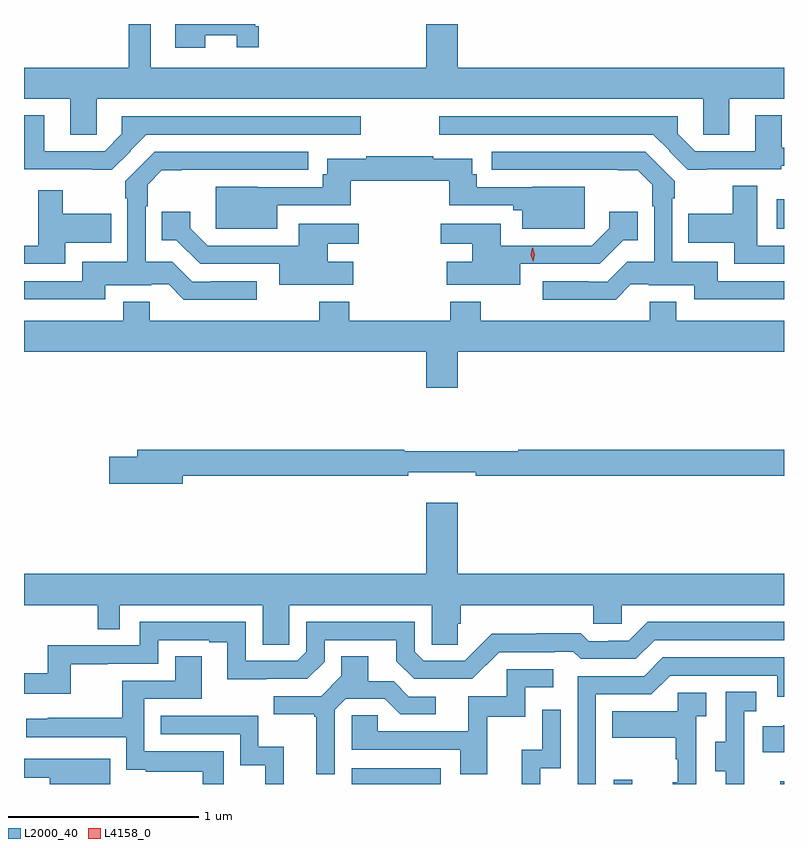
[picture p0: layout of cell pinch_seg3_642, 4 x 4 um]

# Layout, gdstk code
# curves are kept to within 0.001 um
import gdstk
lib = gdstk.Library(unit=1e-6, precision=1e-09)
def R(c, l, rs):  # rectangles x0, y0, x1, y1
    for r in rs: c.add(gdstk.rectangle(r[:2], r[2:], *l))
def P(c, l, *ps):  # polygons
    for p in ps: c.add(gdstk.Polygon(p, *l))
L2000_40 = (2000, 40)
L4158_0 = (4158, 0)

pinch_seg3_642 = lib.new_cell('pinch_seg3_642')
R(pinch_seg3_642, L2000_40, [(1027.752,675.998,1028.22,676.08), (1029.129,675.998,1029.227,676.021), (1030.007,675.998,1030.026,676.012), (1029.987,678.92,1030.026,679.075)])
P(pinch_seg3_642, L2000_40, [(1026.408,679.604),(1029.6,679.604),(1029.6,679.414),(1029.739,679.414),(1029.739,679.604),(1030.026,679.604),(1030.026,679.768),(1028.308,679.768),(1028.308,679.998),(1028.144,679.998),(1028.144,679.768),(1026.693,679.768),(1026.693,679.998),(1026.577,679.998),(1026.577,679.768),(1026.026,679.768),(1026.026,679.604),(1026.269,679.604),(1026.269,679.414),(1026.408,679.414)],
  [(1026.979,679.94),(1027.145,679.94),(1027.145,679.875),(1027.262,679.875),(1027.262,679.987),(1027.242,679.987),(1027.242,679.998),(1026.821,679.998),(1026.821,679.872),(1026.979,679.872)],
  [(1029.619,679.233),(1030.011,679.233),(1030.011,679.251),(1030.026,679.251),(1030.026,679.347),(1030.015,679.347),(1030.015,679.519),(1029.875,679.519),(1029.875,679.329),(1029.558,679.329),(1029.468,679.42),(1029.468,679.512),(1028.211,679.512),(1028.211,679.416),(1029.339,679.416),(1029.424,679.331),(1029.421,679.328),(1029.519,679.231),(1029.619,679.231)],
  [(1026.587,679.328),(1026.584,679.331),(1026.669,679.416),(1027.798,679.416),(1027.798,679.512),(1026.541,679.512),(1026.541,679.42),(1026.45,679.329),(1026.133,679.329),(1026.133,679.519),(1026.026,679.519),(1026.026,679.233),(1026.389,679.233),(1026.389,679.231),(1026.489,679.231)],
  [(1029.219,678.627),(1029.313,678.627),(1029.313,678.623),(1029.554,678.623),(1029.554,678.549),(1030.026,678.549),(1030.026,678.645),(1029.676,678.645),(1029.676,678.748),(1029.438,678.748),(1029.438,679.082),(1029.451,679.082),(1029.451,679.171),(1029.295,679.326),(1028.487,679.326),(1028.487,679.231),(1029.152,679.23),(1029.152,679.228),(1029.256,679.228),(1029.332,679.152),(1029.332,679.04),(1029.342,679.04),(1029.342,678.747),(1029.201,678.747),(1029.096,678.642),(1028.996,678.642),(1028.996,678.645),(1028.757,678.645),(1028.757,678.548),(1029.14,678.548)],
  [(1027.252,678.645),(1027.012,678.645),(1027.012,678.642),(1026.912,678.642),(1026.807,678.747),(1026.666,678.747),(1026.666,679.04),(1026.676,679.04),(1026.676,679.152),(1026.752,679.228),(1026.856,679.228),(1026.856,679.23),(1027.522,679.231),(1027.522,679.326),(1026.713,679.326),(1026.558,679.171),(1026.558,679.082),(1026.57,679.082),(1026.57,678.748),(1026.332,678.748),(1026.332,678.645),(1026.026,678.645),(1026.026,678.549),(1026.454,678.549),(1026.454,678.623),(1026.695,678.623),(1026.695,678.627),(1026.789,678.627),(1026.868,678.548),(1027.252,678.548)],
  [(1027.36,679.044),(1027.745,679.044),(1027.745,679.174),(1028.264,679.174),(1028.264,679.044),(1028.601,679.044),(1028.601,679.019),(1028.648,679.019),(1028.648,678.92),(1028.977,678.92),(1028.977,679.141),(1028.701,679.141),(1028.701,679.14),(1028.409,679.14),(1028.409,679.206),(1028.386,679.206),(1028.386,679.29),(1028.18,679.29),(1028.18,679.303),(1027.828,679.303),(1027.828,679.29),(1027.622,679.29),(1027.622,679.206),(1027.599,679.206),(1027.599,679.14),(1027.256,679.14),(1027.256,679.141),(1027.034,679.141),(1027.034,678.92),(1027.36,678.92)],
  [(1030.026,678.831),(1029.886,678.831),(1029.886,679.148),(1029.757,679.148),(1029.757,679),(1029.523,679),(1029.523,678.848),(1029.764,678.848),(1029.764,678.735),(1030.026,678.735)],
  [(1026.244,678.848),(1026.485,678.848),(1026.485,679),(1026.231,679),(1026.231,679.123),(1026.101,679.123),(1026.101,678.831),(1026.026,678.831),(1026.026,678.735),(1026.244,678.735)],
  [(1027.759,678.748),(1027.625,678.748),(1027.625,678.842),(1027.789,678.842),(1027.789,678.946),(1027.472,678.946),(1027.472,678.831),(1026.993,678.831),(1026.901,678.923),(1026.901,679.009),(1026.751,679.009),(1026.751,678.86),(1026.828,678.86),(1026.953,678.735),(1027.37,678.735),(1027.37,678.626),(1027.759,678.626)],
  [(1028.638,678.735),(1029.055,678.735),(1029.18,678.86),(1029.257,678.86),(1029.257,679.009),(1029.107,679.009),(1029.107,678.923),(1029.015,678.831),(1028.536,678.831),(1028.536,678.946),(1028.22,678.946),(1028.22,678.842),(1028.384,678.842),(1028.384,678.748),(1028.25,678.748),(1028.25,678.626),(1028.638,678.626)],
  [(1028.308,678.272),(1030.026,678.272),(1030.026,678.436),(1029.46,678.436),(1029.46,678.535),(1029.32,678.535),(1029.32,678.436),(1028.43,678.436),(1028.43,678.535),(1028.27,678.535),(1028.27,678.436),(1027.739,678.436),(1027.739,678.535),(1027.579,678.535),(1027.579,678.436),(1026.688,678.436),(1026.688,678.535),(1026.548,678.535),(1026.548,678.436),(1026.026,678.436),(1026.026,678.272),(1028.144,678.272),(1028.144,678.084),(1028.308,678.084)],
  [(1026.862,677.62),(1028.048,677.62),(1028.048,677.639),(1028.404,677.639),(1028.404,677.62),(1030.026,677.62),(1030.026,677.756),(1028.627,677.756),(1028.627,677.749),(1028.027,677.749),(1028.027,677.756),(1026.623,677.756),(1026.623,677.72),(1026.474,677.72),(1026.474,677.578),(1026.862,677.578)],
  [(1027.422,676.94),(1028.172,676.94),(1028.172,676.732),(1028.309,676.732),(1028.309,676.842),(1028.324,676.842),(1028.324,676.94),(1029.021,676.94),(1029.021,676.842),(1029.171,676.842),(1029.171,676.94),(1030.026,676.94),(1030.026,677.104),(1028.308,677.104),(1028.308,677.479),(1028.144,677.479),(1028.144,677.104),(1026.026,677.104),(1026.026,676.94),(1026.415,676.94),(1026.415,676.813),(1026.531,676.813),(1026.531,676.94),(1027.283,676.94),(1027.283,676.732),(1027.422,676.732)],
  [(1026.271,676.627),(1026.467,676.627),(1026.467,676.632),(1026.732,676.632),(1026.732,676.755),(1027.001,676.755),(1027.001,676.743),(1027.097,676.743),(1027.097,676.55),(1027.518,676.551),(1027.608,676.641),(1027.608,676.755),(1027.985,676.755),(1027.985,676.645),(1028.079,676.551),(1028.385,676.551),(1028.526,676.692),(1028.819,676.692),(1028.819,676.695),(1028.918,676.695),(1028.957,676.656),(1029.246,676.656),(1029.345,676.755),(1030.026,676.755),(1030.026,676.851),(1029.308,676.851),(1029.209,676.752),(1029.102,676.752),(1029.102,676.749),(1028.999,676.749),(1028.957,676.792),(1028.724,676.792),(1028.724,676.789),(1028.488,676.789),(1028.346,676.647),(1028.13,676.647),(1028.082,676.695),(1028.082,676.851),(1027.512,676.851),(1027.512,676.695),(1027.464,676.647),(1027.194,676.647),(1027.194,676.851),(1026.636,676.851),(1026.636,676.728),(1026.15,676.728),(1026.15,676.582),(1026.026,676.582),(1026.026,676.472),(1026.271,676.472)],
  [(1027.077,676.17),(1026.66,676.17),(1026.66,676.446),(1026.961,676.446),(1026.961,676.67),(1026.821,676.67),(1026.821,676.542),(1026.544,676.542),(1026.544,676.346),(1026.151,676.346),(1026.151,676.341),(1026.039,676.341),(1026.039,676.245),(1026.564,676.245),(1026.564,676.073),(1026.667,676.073),(1026.667,676.062),(1026.966,676.062),(1026.966,675.998),(1027.077,675.998)],
  [(1027.662,676.389),(1027.719,676.446),(1027.925,676.446),(1028.006,676.365),(1028.194,676.365),(1028.194,676.458),(1028.052,676.458),(1027.972,676.538),(1027.837,676.538),(1027.837,676.67),(1027.697,676.67),(1027.697,676.568),(1027.59,676.461),(1027.341,676.461),(1027.341,676.364),(1027.554,676.364),(1027.554,676.353),(1027.565,676.353),(1027.565,676.05),(1027.662,676.05)],
  [(1029.036,676.47),(1029.327,676.47),(1029.426,676.569),(1029.99,676.569),(1029.99,676.457),(1030.026,676.457),(1030.026,676.665),(1029.389,676.665),(1029.29,676.566),(1028.94,676.566),(1028.94,675.998),(1029.036,675.998)],
  [(1028.465,676.353),(1028.664,676.353),(1028.664,676.506),(1028.812,676.506),(1028.812,676.602),(1028.568,676.602),(1028.568,676.461),(1028.363,676.461),(1028.363,676.275),(1027.889,676.275),(1027.889,676.359),(1027.752,676.359),(1027.752,676.179),(1028.321,676.179),(1028.321,676.05),(1028.465,676.05)],
  [(1029.818,676.077),(1029.816,676.077),(1029.816,676.381),(1029.88,676.381),(1029.88,676.484),(1029.72,676.484),(1029.72,676.221),(1029.665,676.221),(1029.665,676.066),(1029.719,676.066),(1029.719,675.998),(1029.818,675.998)],
  [(1029.564,676.355),(1029.616,676.355),(1029.616,676.479),(1029.468,676.479),(1029.468,676.381),(1029.121,676.381),(1029.121,676.241),(1029.456,676.241),(1029.456,676.127),(1029.466,676.127),(1029.466,676.008),(1029.44,676.008),(1029.44,675.998),(1029.564,675.998)],
  [(1028.742,676.08),(1028.85,676.08),(1028.85,676.39),(1028.754,676.39),(1028.754,676.178),(1028.645,676.178),(1028.645,675.998),(1028.742,675.998)],
  [(1027.393,676.195),(1027.26,676.195),(1027.26,676.356),(1026.745,676.356),(1026.745,676.26),(1027.164,676.26),(1027.164,676.097),(1027.296,676.097),(1027.296,675.998),(1027.393,675.998)],
  [(1030.026,676.306),(1030.021,676.306),(1030.021,676.303),(1029.913,676.303),(1029.913,676.166),(1030.026,676.166)],
  [(1026.479,676.132),(1026.265,676.132),(1026.265,676.131),(1026.026,676.131),(1026.026,676.03),(1026.161,676.03),(1026.161,675.998),(1026.479,675.998)])
P(pinch_seg3_642, L4158_0, [(1028.705,678.748),(1028.705,678.748),(1028.694,678.783),(1028.702,678.82),(1028.703,678.82),(1028.703,678.82),(1028.714,678.784),(1028.706,678.748)])

lib.write_gds('pinch_seg3_642.gds')
